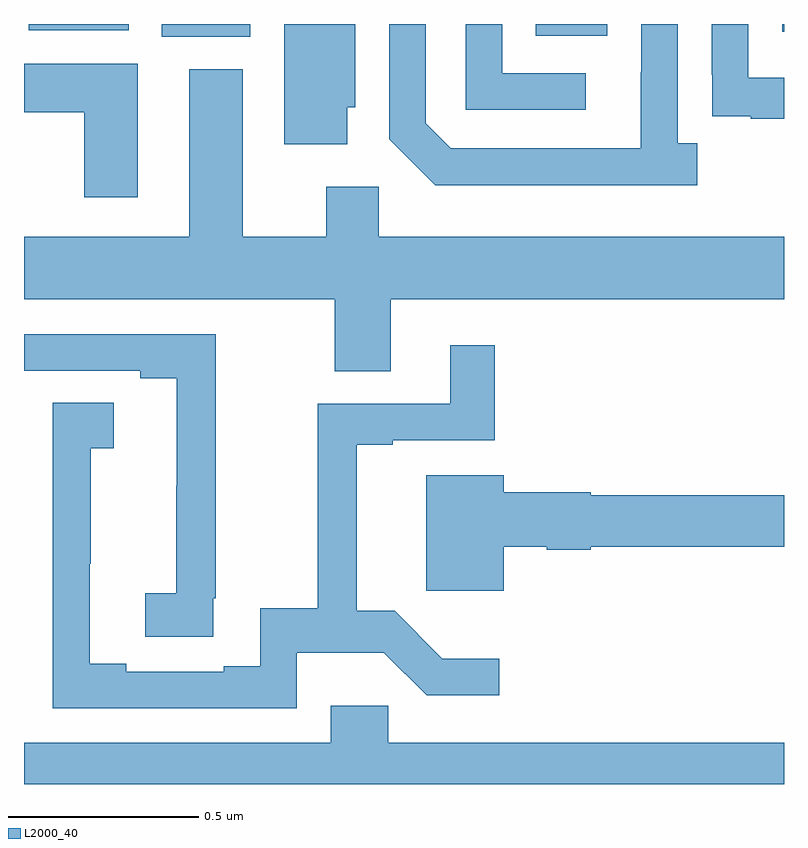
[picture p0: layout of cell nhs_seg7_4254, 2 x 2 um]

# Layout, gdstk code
import gdstk
lib = gdstk.Library(unit=1e-6, precision=1e-09)
def R(c, l, rs):  # rectangles x0, y0, x1, y1
    for r in rs: c.add(gdstk.rectangle(r[:2], r[2:], *l))
def P(c, l, *ps):  # polygons
    for p in ps: c.add(gdstk.Polygon(p, *l))
L2000_40 = (2000, 40)

nhs_seg7_4254 = lib.new_cell('nhs_seg7_4254')
R(nhs_seg7_4254, L2000_40, [(170.363,1007.966,170.596,1008), (171.347,1007.969,171.535,1008), (171.995,1007.979,172,1008), (170.012,1007.984,170.275,1008)])
P(nhs_seg7_4254, L2000_40, [(172,1007.859),(171.906,1007.859),(171.906,1008),(171.81,1008),(171.81,1007.866),(171.811,1007.866),(171.811,1007.757),(171.913,1007.757),(171.913,1007.751),(172,1007.751)],
  [(170.851,1007.781),(170.872,1007.781),(170.872,1008),(170.685,1008),(170.685,1007.684),(170.851,1007.684)],
  [(171.478,1007.871),(171.258,1007.871),(171.258,1008),(171.162,1008),(171.162,1007.775),(171.478,1007.775)],
  [(171.772,1007.686),(171.72,1007.686),(171.72,1008),(171.624,1008),(171.624,1007.873),(171.623,1007.873),(171.623,1007.673),(171.123,1007.673),(171.057,1007.739),(171.057,1008),(170.961,1008),(170.961,1007.697),(171.082,1007.576),(171.772,1007.576)],
  [(170.299,1007.896),(170,1007.896),(170,1007.768),(170.159,1007.768),(170.159,1007.544),(170.299,1007.544)],
  [(170.965,1007.276),(172,1007.276),(172,1007.44),(170.934,1007.44),(170.934,1007.572),(170.795,1007.572),(170.795,1007.44),(170.575,1007.44),(170.575,1007.881),(170.435,1007.881),(170.435,1007.44),(170,1007.44),(170,1007.276),(170.818,1007.276),(170.818,1007.086),(170.965,1007.086)],
  [(170.498,1006.489),(170.504,1006.489),(170.504,1007.184),(170,1007.184),(170,1007.088),(170.306,1007.088),(170.306,1007.068),(170.402,1007.068),(170.402,1006.785),(170.401,1006.785),(170.401,1006.502),(170.319,1006.502),(170.319,1006.387),(170.498,1006.387)],
  [(170.718,1006.346),(170.947,1006.346),(171.06,1006.233),(171.25,1006.233),(171.25,1006.33),(171.101,1006.33),(170.975,1006.456),(170.876,1006.456),(170.876,1006.893),(170.971,1006.893),(170.971,1006.905),(171.239,1006.905),(171.239,1007.155),(171.122,1007.155),(171.122,1007.001),(170.773,1007.001),(170.773,1006.463),(170.622,1006.463),(170.622,1006.31),(170.525,1006.31),(170.525,1006.296),(170.269,1006.296),(170.269,1006.316),(170.173,1006.316),(170.173,1006.579),(170.175,1006.579),(170.175,1006.883),(170.236,1006.883),(170.236,1007.003),(170.076,1007.003),(170.076,1006.2),(170.718,1006.2)],
  [(171.262,1006.624),(171.375,1006.624),(171.375,1006.616),(171.492,1006.616),(171.492,1006.624),(172,1006.624),(172,1006.76),(171.492,1006.76),(171.492,1006.768),(171.262,1006.768),(171.262,1006.813),(171.059,1006.813),(171.059,1006.508),(171.262,1006.508)],
  [(172,1006.108),(170.959,1006.108),(170.959,1006.206),(170.807,1006.206),(170.807,1006.108),(170,1006.108),(170,1006),(172,1006)])

lib.write_gds('nhs_seg7_4254.gds')
